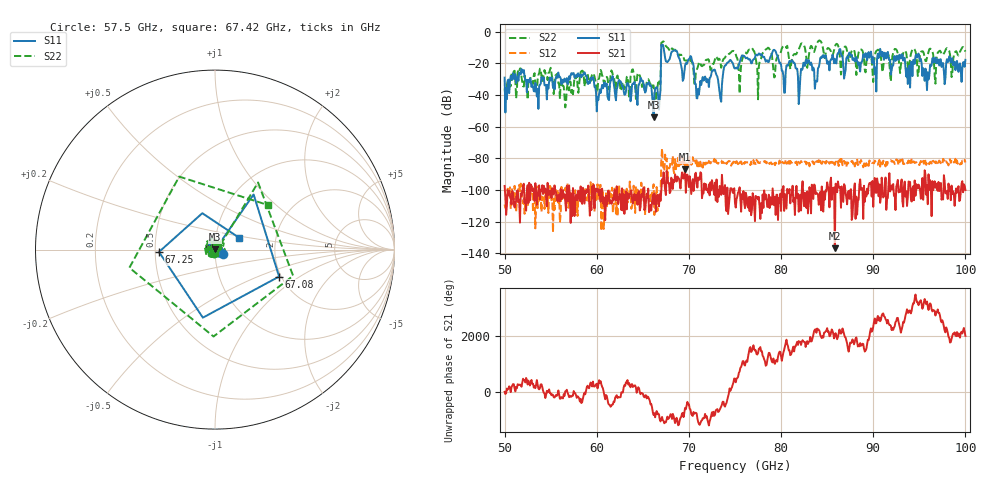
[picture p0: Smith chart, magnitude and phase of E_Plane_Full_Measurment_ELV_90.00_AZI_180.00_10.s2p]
! 11/26/2026 3:03:49 PM
! C:\ANRITSUVNA\TEMP\TEMP.S2P
! CHANNEL.1
! TR.MEASUREMENT
! RAW.DATA
# HZ S RI R 50.0
! FREQ.HZ  S11RE  S11IM  S21RE  S21IM  S12RE  S12IM  S22RE  S22IM
!; PortSelection: Port_12
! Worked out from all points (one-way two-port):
!   601 points, 50 GHz to 100 GHz, reference 50 ohm
!   highest |S21| = -86.91 dB at 69.58 GHz (marker M1); lowest = -137.0 dB at 85.83 GHz (marker M2)
!   lowest |S11| = -54.2 dB at 66.17 GHz (marker M3), VSWR 1.00, Z = 50.1 + j0.14 ohm
!   |S11| at or under -10 dB: start of sweep to 67 GHz; 67.24 GHz to end of sweep
!   |S22| runs from -47.9 to -5.6 dB; largest |S21 - S12| = 0.00022
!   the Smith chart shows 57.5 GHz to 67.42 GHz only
!   S11 on the Smith chart (normalised r, x): 57.5 GHz: 1.09, -0.05; 67.08 GHz: 1.95, -0.69; 67.25 GHz: 0.52, -0.01; 67.42 GHz: 1.29, +0.18
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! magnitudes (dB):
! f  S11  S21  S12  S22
! 50 GHz  -29.1  -97.5  -109.3  -35.9
! 51.67 GHz  -26.3  -120.7  -100.7  -23.3
! 53.42 GHz  -34.9  -99.3  -108.5  -35.4
! 57.5 GHz  -26.2  -103.0  -103.3  -34.7
! 58.42 GHz  -27.2  -108.9  -102.6  -24.7
! 60.17 GHz  -43.3  -100.8  -104.7  -30.4
! 66.17 GHz  -54.2  -108.9  -96.5  -34.0
! 66.67 GHz  -41.5  -104.3  -107.7  -31.7
! 67.08 GHz  -8.2  -93.3  -73.8  -6.8
! 67.25 GHz  -10.1  -88.9  -87.0  -6.2
! 67.42 GHz  -16.5  -100.0  -77.8  -8.3
! 69.58 GHz  -21.3  -86.9  -84.8  -18.2
! 70.25 GHz  -16.0  -102.6  -84.1  -18.8
! 70.92 GHz  -42.1  -98.5  -85.1  -23.1
! 75 GHz  -23.3  -108.5  -84.1  -13.0
! 79.25 GHz  -11.5  -109.7  -82.8  -29.0
! 80.25 GHz  -28.0  -97.6  -83.1  -9.3
! 83.42 GHz  -24.6  -101.5  -82.0  -10.8
! 85.83 GHz  -17.2  -137.0  -84.2  -9.7
! 91.67 GHz  -16.8  -96.0  -82.4  -15.2
! 95.83 GHz  -37.0  -97.0  -82.6  -16.6
! 100 GHz  -17.8  -100.1  -82.7  -12.6
